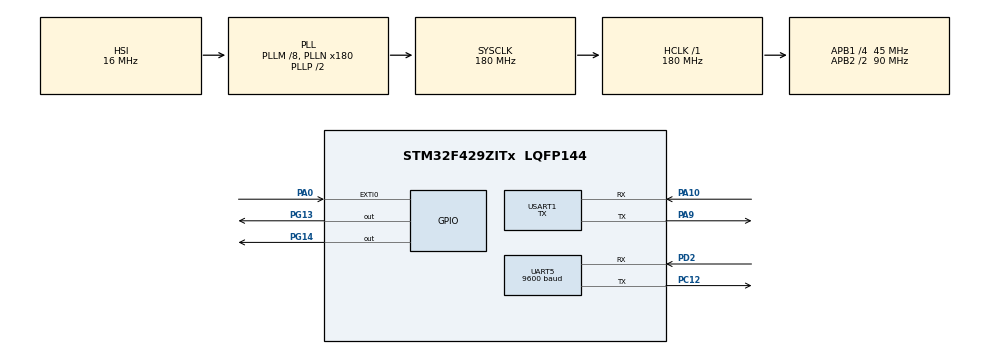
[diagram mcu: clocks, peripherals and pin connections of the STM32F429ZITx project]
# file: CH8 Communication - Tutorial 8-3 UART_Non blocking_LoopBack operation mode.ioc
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Mcu.Family=STM32F4
Mcu.Name=STM32F429ZITx
Mcu.Package=LQFP144
NVIC.EXTI0_IRQn=true\:0\:0\:false\:false\:true\:true\:true\:true
NVIC.PriorityGroup=NVIC_PRIORITYGROUP_1
NVIC.UART5_IRQn=true\:1\:0\:true\:false\:true\:true\:true\:true
PA0/WKUP.Signal=GPXTI0
PA10.Mode=Asynchronous
PA10.Signal=USART1_RX
PA9.Mode=Asynchronous
PA9.Signal=USART1_TX
PC12.Mode=Asynchronous
PC12.Signal=UART5_TX
PD2.Mode=Asynchronous
PD2.Signal=UART5_RX
PG13.Signal=GPIO_Output
PG14.Signal=GPIO_Output
ProjectManager.HeapSize=0x200
ProjectManager.StackSize=0x400
ProjectManager.TargetToolchain=STM32CubeIDE
RCC.48MHZClocksFreq_Value=51428571.428571425
RCC.AHBFreq_Value=180000000
RCC.APB1CLKDivider=RCC_HCLK_DIV4
RCC.APB1Freq_Value=45000000
RCC.APB1TimFreq_Value=90000000
RCC.APB2CLKDivider=RCC_HCLK_DIV2
RCC.APB2Freq_Value=90000000
RCC.APB2TimFreq_Value=180000000
RCC.CortexFreq_Value=180000000
RCC.HCLKFreq_Value=180000000
RCC.HSE_VALUE=8000000
RCC.HSI_VALUE=16000000
RCC.LSE_VALUE=32768
RCC.PLLM=8
RCC.PLLN=180
RCC.PLLQ=7
RCC.SYSCLKFreq_VALUE=180000000
RCC.SYSCLKSource=RCC_SYSCLKSOURCE_PLLCLK
RCC.VCOOutputFreq_Value=360000000
UART5.BaudRate=9600
UART5.VirtualMode=Asynchronous
USART1.Mode=MODE_TX
USART1.VirtualMode=VM_ASYNC
board=STM32F429I-DISC1

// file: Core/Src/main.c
/* USER CODE BEGIN Header */
/**
  ******************************************************************************
  * @file           : main.c
  * @brief          : Main program body
  ******************************************************************************
  * @attention
  *
  * Copyright (c) 2023 STMicroelectronics.
  * All rights reserved.
  *
  * This software is licensed under terms that can be found in the LICENSE file
  * in the root directory of this software component.
  * If no LICENSE file comes with this software, it is provided AS-IS.
  *
  ******************************************************************************
  */
	/***************************** Tutorial Tags ******************************
		 UART Transmit and Receive
		 UART with interrupts
		 GPIO Digital outputs
		 GPIO Interrupts
		 Memory allocation and printf() on console serial terminal
	 **************************************************************************/

	/* 8.2.4 UART Usage in the STM32F4Microcontroller: ************************************************************
	 * Tutorial 8-2: Usage of the UART/USART module in non-blocking loopback operation mode, the
	C code

	 In this tutorial, we configure UART5 on STM32 board to trasnmit and receive its own sent data
	 To do so, connect Tx and Rx of UART5 together using a jumper. and make code with UART5 configured
	 as Trnasnmit and Receive. When the user button is pressed a string message is sent from Tx,
	 and green led is toggled. Then, when the message is recived, the red led is toggled.
	 Make use of interrupts for implementation

	 To expand this tutorial, allocate memory for the buffer intended to receive the data using pointers,
	 and check whether memory allocation has been successful. Print on STM32 serial terminal whether allocation was successful

	 ****************************************************************************************************************/
/* USER CODE END Header */
#include "main.h"

/* USER CODE BEGIN Includes */
#include <stdio.h>
#include <string.h>
#include <stdlib.h>

/* USER CODE END Includes */

UART_HandleTypeDef huart5;
UART_HandleTypeDef huart1;

/* USER CODE BEGIN PV */
uint8_t serTxData [] = "Hello from Tx pin!";
uint8_t *serRxData;
/* USER CODE END PV */

void SystemClock_Config(void);
static void MX_GPIO_Init(void);
static void MX_UART5_Init(void);
static void MX_USART1_UART_Init(void);

/* USER CODE BEGIN 0 */
int _write(int file, char *ptr, int len){
	HAL_UART_Transmit(&huart1, (uint8_t*)ptr, len, HAL_MAX_DELAY);
	return len;
}
/* USER CODE END 0 */

int main(void)
{

  /* MCU Configuration--------------------------------------------------------*/

  /* Reset of all peripherals, Initializes the Flash interface and the Systick. */
  HAL_Init();

  /* Configure the system clock */
  SystemClock_Config();

  /* Initialize all configured peripherals */
  MX_GPIO_Init();
  MX_UART5_Init();
  MX_USART1_UART_Init();
  /* USER CODE BEGIN 2 */
  // Allocate memory to ptr serRxData
  serRxData = (uint8_t*) malloc (100);
  if(serRxData == NULL){
	  printf("Failure to allocate memory!\r\n");
  }
  else
  {
	  printf("Memory allocated successfully!\r\n");
  }

  /* USER CODE END 2 */

  /* Infinite loop */
  while (1)
  {

  }
}

void SystemClock_Config(void)
{
  RCC_OscInitTypeDef RCC_OscInitStruct = {0};
  RCC_ClkInitTypeDef RCC_ClkInitStruct = {0};

  /** Configure the main internal regulator output voltage
  */
  __HAL_RCC_PWR_CLK_ENABLE();
  __HAL_PWR_VOLTAGESCALING_CONFIG(PWR_REGULATOR_VOLTAGE_SCALE1);

  /** Initializes the RCC Oscillators according to the specified parameters
  * in the RCC_OscInitTypeDef structure.
  */
  RCC_OscInitStruct.OscillatorType = RCC_OSCILLATORTYPE_HSI;
  RCC_OscInitStruct.HSIState = RCC_HSI_ON;
  RCC_OscInitStruct.HSICalibrationValue = RCC_HSICALIBRATION_DEFAULT;
  RCC_OscInitStruct.PLL.PLLState = RCC_PLL_ON;
  RCC_OscInitStruct.PLL.PLLSource = RCC_PLLSOURCE_HSI;
  RCC_OscInitStruct.PLL.PLLM = 8;
  RCC_OscInitStruct.PLL.PLLN = 180;
  RCC_OscInitStruct.PLL.PLLP = RCC_PLLP_DIV2;
  RCC_OscInitStruct.PLL.PLLQ = 7;
  if (HAL_RCC_OscConfig(&RCC_OscInitStruct) != HAL_OK)
  {
    Error_Handler();
  }

  /** Activate the Over-Drive mode
  */
  if (HAL_PWREx_EnableOverDrive() != HAL_OK)
  {
    Error_Handler();
  }

  /** Initializes the CPU, AHB and APB buses clocks
  */
  RCC_ClkInitStruct.ClockType = RCC_CLOCKTYPE_HCLK|RCC_CLOCKTYPE_SYSCLK
                              |RCC_CLOCKTYPE_PCLK1|RCC_CLOCKTYPE_PCLK2;
  RCC_ClkInitStruct.SYSCLKSource = RCC_SYSCLKSOURCE_PLLCLK;
  RCC_ClkInitStruct.AHBCLKDivider = RCC_SYSCLK_DIV1;
  RCC_ClkInitStruct.APB1CLKDivider = RCC_HCLK_DIV4;
  RCC_ClkInitStruct.APB2CLKDivider = RCC_HCLK_DIV2;

  if (HAL_RCC_ClockConfig(&RCC_ClkInitStruct, FLASH_LATENCY_5) != HAL_OK)
  {
    Error_Handler();
  }
}

static void MX_UART5_Init(void)
{

  huart5.Instance = UART5;
  huart5.Init.BaudRate = 9600;
  huart5.Init.WordLength = UART_WORDLENGTH_8B;
  huart5.Init.StopBits = UART_STOPBITS_1;
  huart5.Init.Parity = UART_PARITY_NONE;
  huart5.Init.Mode = UART_MODE_TX_RX;
  huart5.Init.HwFlowCtl = UART_HWCONTROL_NONE;
  huart5.Init.OverSampling = UART_OVERSAMPLING_16;
  if (HAL_UART_Init(&huart5) != HAL_OK)
  {
    Error_Handler();
  }

}

static void MX_USART1_UART_Init(void)
{

  huart1.Instance = USART1;
  huart1.Init.BaudRate = 115200;
  huart1.Init.WordLength = UART_WORDLENGTH_8B;
  huart1.Init.StopBits = UART_STOPBITS_1;
  huart1.Init.Parity = UART_PARITY_NONE;
  huart1.Init.Mode = UART_MODE_TX;
  huart1.Init.HwFlowCtl = UART_HWCONTROL_NONE;
  huart1.Init.OverSampling = UART_OVERSAMPLING_16;
  if (HAL_UART_Init(&huart1) != HAL_OK)
  {
    Error_Handler();
  }

}

static void MX_GPIO_Init(void)
{
  GPIO_InitTypeDef GPIO_InitStruct = {0};

  /* GPIO Ports Clock Enable */
  __HAL_RCC_GPIOA_CLK_ENABLE();
  __HAL_RCC_GPIOC_CLK_ENABLE();
  __HAL_RCC_GPIOD_CLK_ENABLE();
  __HAL_RCC_GPIOG_CLK_ENABLE();

  /*Configure GPIO pin Output Level */
  HAL_GPIO_WritePin(GPIOG, GPIO_PIN_13|GPIO_PIN_14, GPIO_PIN_RESET);

  /*Configure GPIO pin : PA0 */
  GPIO_InitStruct.Pin = GPIO_PIN_0;
  GPIO_InitStruct.Mode = GPIO_MODE_IT_RISING;
  GPIO_InitStruct.Pull = GPIO_NOPULL;
  HAL_GPIO_Init(GPIOA, &GPIO_InitStruct);

  /*Configure GPIO pins : PG13 PG14 */
  GPIO_InitStruct.Pin = GPIO_PIN_13|GPIO_PIN_14;
  GPIO_InitStruct.Mode = GPIO_MODE_OUTPUT_PP;
  GPIO_InitStruct.Pull = GPIO_NOPULL;
  GPIO_InitStruct.Speed = GPIO_SPEED_FREQ_LOW;
  HAL_GPIO_Init(GPIOG, &GPIO_InitStruct);

  /* EXTI interrupt init*/
  HAL_NVIC_SetPriority(EXTI0_IRQn, 0, 0);
  HAL_NVIC_EnableIRQ(EXTI0_IRQn);

}

/* USER CODE BEGIN 4 */
void HAL_GPIO_EXTI_Callback(uint16_t GPIO_Pin)
{
	if (GPIO_Pin == GPIO_PIN_0){
	// Generate interrupt when transmit complete
	HAL_UART_Transmit_IT(&huart5, serTxData, sizeof(serTxData));
	// Generate interrupt when Receive complete
	HAL_UART_Receive_IT(&huart5, serRxData, sizeof(serTxData));
	}

}

void HAL_UART_TxCpltCallback(UART_HandleTypeDef *huart){
	HAL_GPIO_TogglePin(GPIOG, GPIO_PIN_13);
}

void HAL_UART_RxCpltCallback(UART_HandleTypeDef *huart){
	HAL_Delay(2000);  // Introduce time delay between toggling leds for transmit and receive data
	HAL_GPIO_TogglePin(GPIOG, GPIO_PIN_14);
    // When strings are equal strcmp() return 0
	if (!strcmp ((char*)serRxData,(char*)serTxData)){

		printf("Data received successfully!\r\n");
	}

}

/* USER CODE END 4 */

void Error_Handler(void)
{
  __disable_irq();
  while (1)
  {
  }
}
